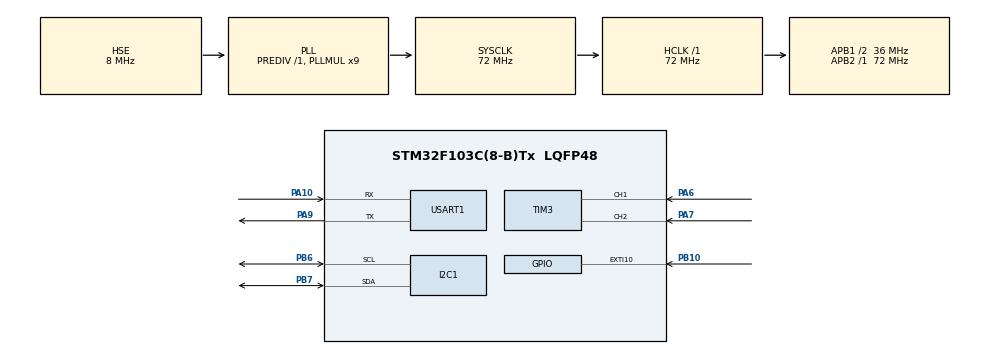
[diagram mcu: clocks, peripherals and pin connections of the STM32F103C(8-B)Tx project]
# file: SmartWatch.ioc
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Dma.Request0=USART1_RX
Dma.USART1_RX.0.Direction=DMA_PERIPH_TO_MEMORY
Dma.USART1_RX.0.Instance=DMA1_Channel5
Dma.USART1_RX.0.MemDataAlignment=DMA_MDATAALIGN_BYTE
Dma.USART1_RX.0.MemInc=DMA_MINC_ENABLE
Dma.USART1_RX.0.Mode=DMA_CIRCULAR
Dma.USART1_RX.0.PeriphDataAlignment=DMA_PDATAALIGN_BYTE
Dma.USART1_RX.0.PeriphInc=DMA_PINC_DISABLE
Dma.USART1_RX.0.Priority=DMA_PRIORITY_LOW
FREERTOS.BinarySemaphores01=semDisplayUpdate,Dynamic,NULL,Available
FREERTOS.Mutexes01=mutexI2C,Dynamic,NULL,Available;mutexUART,Dynamic,NULL,Available
FREERTOS.Queues01=queueSensorData,4,24,1,Dynamic,NULL,NULL;queueTimeUpdate,2,8,1,Dynamic,NULL,NULL;queueMenuMsg,4,4,1,Dynamic,NULL,NULL;queueBtCmd,4,32,1,Dynamic,NULL,NULL;queueStepData,1,uint32_t,0,Dynamic,NULL,NULL
FREERTOS.Tasks01=defaultTask,0,128,StartDefaultTask,Default,NULL,Dynamic,NULL,NULL;taskTimeKeep,2,256,vTask_TimeKeep,Default,NULL,Dynamic,NULL,NULL;taskSensor,1,512,vTask_Sensor,Default,NULL,Dynamic,NULL,NULL;taskDisplay,0,1024,vTask_Display,Default,NULL,Dynamic,NULL,NULL;taskMenu,0,512,vTask_Menu,Default,NULL,Dynamic,NULL,NULL;taskBluetooth,0,512,vTask_Bluetooth,Default,NULL,Dynamic,NULL,NULL
FREERTOS.configMAX_PRIORITIES=32
FREERTOS.configTOTAL_HEAP_SIZE=15360
I2C1.I2C_Mode=I2C_Fast
Mcu.Family=STM32F1
Mcu.Name=STM32F103C(8-B)Tx
Mcu.Package=LQFP48
NVIC.DMA1_Channel5_IRQn=true\:5\:0\:false\:false\:true\:true\:false\:true\:true
NVIC.EXTI15_10_IRQn=true\:7\:0\:true\:false\:true\:false\:true\:true\:true
NVIC.I2C1_ER_IRQn=true\:6\:0\:true\:false\:true\:true\:true\:true\:true
NVIC.I2C1_EV_IRQn=true\:6\:0\:true\:false\:true\:true\:true\:true\:true
NVIC.PriorityGroup=NVIC_PRIORITYGROUP_4
NVIC.TIM1_UP_IRQn=true\:15\:0\:false\:false\:true\:false\:false\:true\:true
NVIC.TIM2_IRQn=true\:5\:0\:false\:false\:true\:true\:true\:true\:true
NVIC.TimeBase=TIM1_UP_IRQn
NVIC.TimeBaseIP=TIM1
NVIC.USART1_IRQn=true\:7\:0\:true\:false\:true\:true\:true\:true\:true
PA10.Mode=Asynchronous
PA10.Signal=USART1_RX
PA13.Mode=Serial_Wire
PA13.Signal=SYS_JTMS-SWDIO
PA14.Mode=Serial_Wire
PA14.Signal=SYS_JTCK-SWCLK
PA6.Signal=S_TIM3_CH1
PA7.Signal=S_TIM3_CH2
PA9.Mode=Asynchronous
PA9.Signal=USART1_TX
PB10.Signal=GPXTI10
PB6.Mode=I2C
PB6.Signal=I2C1_SCL
PB7.Mode=I2C
PB7.Signal=I2C1_SDA
PD0-OSC_IN.Mode=HSE-External-Oscillator
PD0-OSC_IN.Signal=RCC_OSC_IN
PD1-OSC_OUT.Mode=HSE-External-Oscillator
PD1-OSC_OUT.Signal=RCC_OSC_OUT
ProjectManager.HeapSize=0x200
ProjectManager.StackSize=0x400
ProjectManager.TargetToolchain=MDK-ARM V5.32
RCC.AHBFreq_Value=72000000
RCC.APB1CLKDivider=RCC_HCLK_DIV2
RCC.APB1Freq_Value=36000000
RCC.APB1TimFreq_Value=72000000
RCC.APB2Freq_Value=72000000
RCC.APB2TimFreq_Value=72000000
RCC.HCLKFreq_Value=72000000
RCC.PLLMUL=RCC_PLL_MUL9
RCC.PLLSourceVirtual=RCC_PLLSOURCE_HSE
RCC.SYSCLKFreq_VALUE=72000000
RCC.SYSCLKSource=RCC_SYSCLKSOURCE_PLLCLK
RCC.USBFreq_Value=72000000
SH.S_TIM3_CH1.0=TIM3_CH1,Encoder_Interface
SH.S_TIM3_CH2.0=TIM3_CH2,Encoder_Interface
TIM2.Period=9999
TIM2.Prescaler=7199
USART1.VirtualMode=VM_ASYNC
VP_FREERTOS_VS_CMSIS_V1.Mode=CMSIS_V1
VP_SYS_VS_tim1.Mode=TIM1
VP_TIM2_VS_ClockSourceINT.Mode=Internal
board=custom

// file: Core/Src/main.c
/* USER CODE BEGIN Header */
/**
  ******************************************************************************
  * @file           : main.c
  * @brief          : Main program body
  ******************************************************************************
  * @attention
  *
  * Copyright (c) 2026 STMicroelectronics.
  * All rights reserved.
  *
  * This software is licensed under terms that can be found in the LICENSE file
  * in the root directory of this software component.
  * If no LICENSE file comes with this software, it is provided AS-IS.
  *
  ******************************************************************************
  */
/* USER CODE END Header */
#include "main.h"
#include "cmsis_os.h"
#include "dma.h"
#include "i2c.h"
#include "tim.h"
#include "usart.h"
#include "gpio.h"

/* USER CODE BEGIN Includes */
#include <stdio.h>
#include "mpu6050.h"
#include "ssd1306.h"
#include "bluetooth.h"
#include "display.h"
#include "freertos_tasks.h"
/* USER CODE END Includes */

void SystemClock_Config(void);
void MX_FREERTOS_Init(void);

int main(void)
{

  /* MCU Configuration--------------------------------------------------------*/

  /* Reset of all peripherals, Initializes the Flash interface and the Systick. */
  HAL_Init();

  /* Configure the system clock */
  SystemClock_Config();

  /* Initialize all configured peripherals */
  MX_GPIO_Init();
  MX_DMA_Init();
  MX_I2C1_Init();
  MX_USART1_UART_Init();
  MX_TIM2_Init();
  /* USER CODE BEGIN 2 */
	ssd1306_Init();
	ssd1306_Clear();

	//初始化MPU6050
	if (MPU6050_Init() != HAL_OK) {
		ssd1306_SetCursor(0, 0);
		ssd1306_WriteString("MPU6050 Error!");
		while(1);
	}
	MPU6050_CalibrateGyro();
	ssd1306_SetCursor(0, 0);
	Bluetooth_Init();
	MX_TIM3_Init();
	HAL_Delay(10);

  /* USER CODE END 2 */

  /* Call init function for freertos objects (in cmsis_os2.c) */
  MX_FREERTOS_Init();

  /* Start scheduler */
  osKernelStart();
	ssd1306_WriteString("NO RTOS TEST");

  /* We should never get here as control is now taken by the scheduler */

  /* Infinite loop */
  while (1)
  {

    /* USER CODE BEGIN 3 */
    ssd1306_Clear();
    ssd1306_WriteString("Scheduler Fail!");
  }
  /* USER CODE END 3 */
}

void SystemClock_Config(void)
{
  RCC_OscInitTypeDef RCC_OscInitStruct = {0};
  RCC_ClkInitTypeDef RCC_ClkInitStruct = {0};

  /** Initializes the RCC Oscillators according to the specified parameters
  * in the RCC_OscInitTypeDef structure.
  */
  RCC_OscInitStruct.OscillatorType = RCC_OSCILLATORTYPE_HSE;
  RCC_OscInitStruct.HSEState = RCC_HSE_ON;
  RCC_OscInitStruct.HSEPredivValue = RCC_HSE_PREDIV_DIV1;
  RCC_OscInitStruct.HSIState = RCC_HSI_ON;
  RCC_OscInitStruct.PLL.PLLState = RCC_PLL_ON;
  RCC_OscInitStruct.PLL.PLLSource = RCC_PLLSOURCE_HSE;
  RCC_OscInitStruct.PLL.PLLMUL = RCC_PLL_MUL9;
  if (HAL_RCC_OscConfig(&RCC_OscInitStruct) != HAL_OK)
  {
    Error_Handler();
  }

  /** Initializes the CPU, AHB and APB buses clocks
  */
  RCC_ClkInitStruct.ClockType = RCC_CLOCKTYPE_HCLK|RCC_CLOCKTYPE_SYSCLK
                              |RCC_CLOCKTYPE_PCLK1|RCC_CLOCKTYPE_PCLK2;
  RCC_ClkInitStruct.SYSCLKSource = RCC_SYSCLKSOURCE_PLLCLK;
  RCC_ClkInitStruct.AHBCLKDivider = RCC_SYSCLK_DIV1;
  RCC_ClkInitStruct.APB1CLKDivider = RCC_HCLK_DIV2;
  RCC_ClkInitStruct.APB2CLKDivider = RCC_HCLK_DIV1;

  if (HAL_RCC_ClockConfig(&RCC_ClkInitStruct, FLASH_LATENCY_2) != HAL_OK)
  {
    Error_Handler();
  }
}

void HAL_TIM_PeriodElapsedCallback(TIM_HandleTypeDef *htim)
{
  if (htim->Instance == TIM1)
  {
    HAL_IncTick();
  }
}

void Error_Handler(void)
{
  __disable_irq();
  while (1)
  {
  }
}

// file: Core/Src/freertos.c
/* USER CODE BEGIN Header */
/**
  ******************************************************************************
  * File Name          : freertos.c
  * Description        : Code for freertos applications
  ******************************************************************************
  * @attention
  *
  * Copyright (c) 2026 STMicroelectronics.
  * All rights reserved.
  *
  * This software is licensed under terms that can be found in the LICENSE file
  * in the root directory of this software component.
  * If no LICENSE file comes with this software, it is provided AS-IS.
  ******************************************************************************
  */
/* USER CODE END Header */
#include "FreeRTOS.h"
#include "queue.h"
#include "task.h"
#include "main.h"
#include "cmsis_os.h"
/* USER CODE BEGIN Includes */
#include "freertos_tasks.h"
#include <stdio.h>
#include "display.h"
#include <string.h>
#include <stdlib.h>
#include "tim.h"
#include "gpio.h"
/* USER CODE END Includes */
/* USER CODE BEGIN PTD */
typedef struct QueueSensorBuf{
    MPU6050_Data data;
}QueueSensorBuf_t;
typedef struct QueueTimeBuf{
    TimeData data;
}QueueTimeBuf_t;
/* USER CODE END PTD */
/* USER CODE BEGIN PD */
// 等效 xQueueOverwriteSafe，兼容多版本
#define xQueueOverwriteSafe(queue, data) \
    do { \
        xQueueReset((queue)); \
        xQueueSend((queue), (data), 0); \
    } while(0)
/* USER CODE END PD */
/* USER CODE BEGIN Variables */
// 全局缓存，避免局部变量入队野指针
static TimeData g_timeBuf = {0};
static MPU6050_Data g_sensorBuf = {0};
static uint32_t g_stepTotal = 0;
static MenuPage g_curPage = PAGE_MAIN_MENU; // 开机默认进主菜单
static uint8_t g_menu_cursor = 0;          // 列表页当前光标位置
static uint8_t g_alarmHour = 0;
static uint8_t g_alarmMin = 0;
static uint8_t g_alarm_enabled = 1;    // 闹钟总开关，默认开启
static uint8_t g_alarm_ringing = 0;    // 闹钟是否正在响铃
static uint8_t g_alarm_beep_tick = 0;  // 间歇鸣叫计数器

static uint8_t g_brightness = 207;  // 屏幕亮度，默认0xCF对应207
static uint8_t g_edit_mode = 0;     // 设置页编辑模式：0=选择项，1=编辑数值
static uint8_t g_edit_index = 0;    // 当前编辑的选项索引
static uint16_t last_enc_cnt = 32768;
static int16_t  dir_accum = 0;          // 方向累加器
#define ENC_TRIGGER  4                 // 累计4个计数触发1格（四倍频对应1个定位）
// 距离、卡路里计算常量
#define STEP_PER_METER  0.7f        // 步长0.7米
#define CAL_PER_STEP    0.04f       // 每步约0.04千卡
#define FW_VERSION      "V1.0.0"    // 固件版本
/* USER CODE END Variables */
osThreadId defaultTaskHandle;
osThreadId taskTimeKeepHandle;
osThreadId taskSensorHandle;
osThreadId taskDisplayHandle;
osThreadId taskMenuHandle;
osThreadId taskBluetoothHandle;
osThreadId taskHwInitHandle;
osMessageQId queueSensorDataHandle;
osMessageQId queueTimeUpdateHandle;
osMessageQId queueMenuMsgHandle;
osMessageQId queueBtCmdHandle;
osMessageQId queueStepDataHandle;
osMutexId mutexI2CHandle;
osMutexId mutexUARTHandle;
osSemaphoreId semDisplayUpdateHandle;
/* USER CODE BEGIN FunctionPrototypes */
extern void StepDetection(MPU6050_Data *dat, uint32_t *step);
/* USER CODE END FunctionPrototypes */
void StartDefaultTask(void const * argument);
void vTask_TimeKeep(void const * argument);
void vTask_Sensor(void const * argument);
void vTask_Display(void const * argument);
void vTask_Menu(void const * argument);
void vTask_Bluetooth(void const * argument);
void vTaskHardwareInit(void const * arg);
void MX_FREERTOS_Init(void); /* (MISRA C 2004 rule 8.1) */
int16_t EncoderSimByButtons(void);
/* GetIdleTaskMemory prototype (linked to static allocation support) */
void vApplicationGetIdleTaskMemory( StaticTask_t **ppxIdleTaskTCBBuffer, StackType_t **ppxIdleTaskStackBuffer, uint32_t *pulIdleTaskStackSize );
/* USER CODE BEGIN GET_IDLE_TASK_MEMORY */
static StaticTask_t xIdleTaskTCBBuffer;
static StackType_t xIdleStack[configMINIMAL_STACK_SIZE];
void vApplicationGetIdleTaskMemory( StaticTask_t **ppxIdleTaskTCBBuffer, StackType_t **ppxIdleTaskStackBuffer, uint32_t *pulIdleTaskStackSize )
{
  *ppxIdleTaskTCBBuffer = &xIdleTaskTCBBuffer;
  *ppxIdleTaskStackBuffer = &xIdleStack[0];
  *pulIdleTaskStackSize = configMINIMAL_STACK_SIZE;
}

/* USER CODE END GET_IDLE_TASK_MEMORY */

void MX_FREERTOS_Init(void)
{
		osMutexDef(mutexI2C);
		mutexI2CHandle = osMutexCreate(osMutex(mutexI2C));
		if (mutexI2CHandle == NULL)
		{
				ssd1306_Clear();
				ssd1306_SetCursor(0, 0);
				ssd1306_WriteString("Mutex I2C Fail");
				while(1);
		}

		// 创建 UART 互斥锁
		osMutexDef(mutexUART);
		mutexUARTHandle = osMutexCreate(osMutex(mutexUART));
		if (mutexUARTHandle == NULL)
		{
				ssd1306_Clear();
				ssd1306_SetCursor(0, 0);
				ssd1306_WriteString("Mutex UART Fail");
				while(1);
		}

		osSemaphoreDef(semDisplayUpdate);
		semDisplayUpdateHandle = osSemaphoreCreate(osSemaphore(semDisplayUpdate), 1);
		if (semDisplayUpdateHandle == NULL)
		{
				ssd1306_Clear();
				ssd1306_SetCursor(0, 0);
				ssd1306_WriteString("sem display Fail");
				while(1);
		}

		osThreadDef(taskDisplay, vTask_Display, osPriorityNormal, 0, 256);
		taskDisplayHandle = osThreadCreate(osThread(taskDisplay), NULL);
		if (taskDisplayHandle == NULL)
		{
				ssd1306_Clear();
				ssd1306_SetCursor(0, 0);
				ssd1306_WriteString("task diplay Fail");
				while(1);
		}

		// 创建时间更新队列
		queueTimeUpdateHandle = xQueueCreate(2, sizeof(QueueTimeBuf_t));
		if (queueTimeUpdateHandle == NULL)
		{
				ssd1306_Clear();
				ssd1306_SetCursor(0, 0);
				ssd1306_WriteString("queue Timeupdate Fail");
				while(1);
		}

		// 创建传感器数据队列
		queueSensorDataHandle = xQueueCreate(4, sizeof(QueueSensorBuf_t));
		if (queueSensorDataHandle == NULL)
		{
				ssd1306_Clear();
				ssd1306_SetCursor(0, 0);
				ssd1306_WriteString("queue sensor data Fail");
				while(1);
		}

		// 创建计步数据队列
		queueStepDataHandle = xQueueCreate(1, sizeof(uint32_t));
		if (queueStepDataHandle == NULL)
		{
				ssd1306_Clear();
				ssd1306_SetCursor(0, 0);
				ssd1306_WriteString("Mqueue step data Fail");
				while(1);
		}

		// 创建菜单消息队列
		queueMenuMsgHandle = xQueueCreate(4, sizeof(MenuMsg));
		if (queueMenuMsgHandle == NULL)
		{
				ssd1306_Clear();
				ssd1306_SetCursor(0, 0);
				ssd1306_WriteString("queue menu msg Fail");
				while(1);
		}

		//蓝牙队列
		queueBtCmdHandle = xQueueCreate(4, 32);
		if (queueBtCmdHandle == NULL)
		{
				ssd1306_Clear();
				ssd1306_SetCursor(0, 0);
				ssd1306_WriteString("queue bt cmd Fail");
				while(1);
		}

		// 硬件初始化任务
		osThreadDef(taskHwInit, vTaskHardwareInit, osPriorityHigh+1, 0, 256);
		taskHwInitHandle = osThreadCreate(osThread(taskHwInit), NULL);
		if (taskHwInitHandle == NULL)
		{
				ssd1306_Clear();
				ssd1306_SetCursor(0, 0);
				ssd1306_WriteString("task hw init Fail");
				while(1);
		}

		// 时间任务
		osThreadDef(taskTimeKeep, vTask_TimeKeep, osPriorityHigh, 0, 128);
		taskTimeKeepHandle = osThreadCreate(osThread(taskTimeKeep), NULL);
		if (taskTimeKeepHandle == NULL)
		{
				ssd1306_Clear();
				ssd1306_SetCursor(0, 0);
				ssd1306_WriteString("task time keep Fail");
				while(1);
		}

		// 菜单任务
		osThreadDef(taskMenu, vTask_Menu, osPriorityNormal, 0, 128);
		taskMenuHandle = osThreadCreate(osThread(taskMenu), NULL);
		if (taskMenuHandle == NULL)
		{
				ssd1306_Clear();
				ssd1306_SetCursor(0, 0);
				ssd1306_WriteString("task menu Fail");
				while(1);
		}

		// 传感器任务
		osThreadDef(taskSensor, vTask_Sensor, osPriorityNormal, 0, 192);
		taskSensorHandle = osThreadCreate(osThread(taskSensor), NULL);
		if (taskSensorHandle == NULL)
		{
				ssd1306_Clear();
				ssd1306_SetCursor(0, 0);
				ssd1306_WriteString("task sensor Fail");
				while(1);
		}

		// 蓝牙任务
		osThreadDef(taskBluetooth, vTask_Bluetooth, osPriorityLow, 0, 192);
		taskBluetoothHandle = osThreadCreate(osThread(taskBluetooth), NULL);
		if (taskBluetoothHandle == NULL)
		{
				ssd1306_Clear();
				ssd1306_SetCursor(0, 0);
				ssd1306_WriteString("task blue tooth Fail");
				while(1);
		}
}

/* USER CODE BEGIN Header_StartDefaultTask */
void StartDefaultTask(void const * argument)
{
  for(;;)
  {
    osDelay(1000);
  }
}
/* USER CODE END Header_StartDefaultTask */

void vTask_TimeKeep(void const * argument)
{
    TickType_t xLastWakeTime = xTaskGetTickCount();
    QueueTimeBuf_t timePack;
    static TimeData lastTime = {0};
    for (;;) {
        IncrementTime(&g_timeBuf);

        /* ========== 新增：闹钟检测逻辑 ========== */
        if(g_alarm_enabled && !g_alarm_ringing)
        {
            // 时分匹配且秒为0，整点触发闹钟，避免重复触发
            if(g_timeBuf.hour == g_alarmHour
            && g_timeBuf.min == g_alarmMin
            && g_timeBuf.sec == 0)
            {
                g_alarm_ringing = 1;
                g_alarm_beep_tick = 0;
                osSemaphoreRelease(semDisplayUpdateHandle); // 触发屏幕刷新提示
            }
        }

        // 闹钟响铃中：间歇鸣叫（响1秒停1秒）
        if(g_alarm_ringing)
        {
            g_alarm_beep_tick++;
            if(g_alarm_beep_tick % 2 == 1)
                Beep_Set(1);  // 奇数秒响
            else
                Beep_Set(0);  // 偶数秒停

            // 响铃超时：60秒后自动关闭
            if(g_alarm_beep_tick >= 60)
            {
                g_alarm_ringing = 0;
                Beep_Set(0);
            }
        }
        /* ======================================== */

        // 只有时间变化，才入队+触发刷新
        if(memcmp(&g_timeBuf, &lastTime, sizeof(TimeData)) != 0)
        {
            timePack.data = g_timeBuf;
            xQueueOverwriteSafe(queueTimeUpdateHandle, &timePack);
            osSemaphoreRelease(semDisplayUpdateHandle);
            lastTime = g_timeBuf;
        }
        vTaskDelayUntil(&xLastWakeTime, pdMS_TO_TICKS(1000));
    }
}

/* 传感器任务：修复局部指针入队，新增计步调用 */
void vTask_Sensor(void const * argument)
{
    TickType_t xLastWakeTime = xTaskGetTickCount();
    QueueSensorBuf_t sensorPack;
    static MPU6050_Data lastSensor = {0};
    static uint32_t lastStep = 0;
    for (;;)
		{
        if (osMutexWait(mutexI2CHandle, pdMS_TO_TICKS(100)) == osOK)
				{
            MPU6050_ReadAll(&g_sensorBuf);
            osMutexRelease(mutexI2CHandle);
        }

        StepDetection(&g_sensorBuf, &g_stepTotal);

        int dataChanged = 0;
        if(memcmp(&g_sensorBuf, &lastSensor, sizeof(MPU6050_Data)) != 0)
        {
            lastSensor = g_sensorBuf;
            dataChanged = 1;
        }
        if(g_stepTotal != lastStep)
        {
            lastStep = g_stepTotal;
            dataChanged = 1;
        }

        if(dataChanged)
        {
            sensorPack.data = g_sensorBuf;
            xQueueOverwriteSafe(queueSensorDataHandle, &sensorPack);
            xQueueOverwriteSafe(queueStepDataHandle, &g_stepTotal);
            osSemaphoreRelease(semDisplayUpdateHandle);
        }
        vTaskDelayUntil(&xLastWakeTime, pdMS_TO_TICKS(200));
    }
}

void vTask_Display(void const * argument)
{
    QueueTimeBuf_t timePack = {0};
    QueueSensorBuf_t sensorPack = {0};
    uint32_t steps = 0;

    // 启动时先读一次初始数据
    xQueueReceive((QueueHandle_t)queueTimeUpdateHandle, &timePack, 0);
    xQueueReceive((QueueHandle_t)queueSensorDataHandle, &sensorPack, 0);
    xQueueReceive((QueueHandle_t)queueStepDataHandle, &steps, 0);

    for (;;)
		{
        // 永久等待刷新信号，内容不变不重绘，减少闪烁
        osSemaphoreWait(semDisplayUpdateHandle, osWaitForever);

        // 读取最新数据
        xQueueReceive((QueueHandle_t)queueTimeUpdateHandle, &timePack, 0);
        xQueueReceive((QueueHandle_t)queueSensorDataHandle, &sensorPack, 0);
        xQueueReceive((QueueHandle_t)queueStepDataHandle, &steps, 0);

        // 获取I2C互斥锁
        uint8_t lockTry = 0;
        while(osMutexWait(mutexI2CHandle, pdMS_TO_TICKS(20)) != osOK && lockTry < 3)
        {
            lockTry++;
            vTaskDelay(pdMS_TO_TICKS(5));
        }
        if(lockTry >= 3)
            continue;

        ssd1306_Clear();

				switch(g_curPage)
				{
						// 主菜单（原有保留，略作优化）
						case PAGE_MAIN_MENU:
						{
								ssd1306_SetCursor(0, 0);
								ssd1306_WriteString("=== main menu ===");
								ssd1306_SetCursor(0, 2);
								ssd1306_WriteString(g_menu_cursor==0 ? ">1.time display" : " 1.time display");
								ssd1306_SetCursor(0, 3);
								ssd1306_WriteString(g_menu_cursor==1 ? ">2.sensor data" : " 2.sensor data");
								ssd1306_SetCursor(0, 4);
								ssd1306_WriteString(g_menu_cursor==2 ? ">3.sport data" : " 3.sport data");
								ssd1306_SetCursor(0, 5);
								ssd1306_WriteString(g_menu_cursor==3 ? ">4.settings" : " 4.settings");
								ssd1306_SetCursor(0, 6);
								ssd1306_WriteString(g_menu_cursor==4 ? ">5.system info" : " 5.system info");
								break;
						}

						// 时间显示子菜单
						case PAGE_TIME_MENU:
						{
								ssd1306_SetCursor(0, 0);
								ssd1306_WriteString("=== time menu ===");
								ssd1306_SetCursor(0, 2);
								ssd1306_WriteString(g_menu_cursor==0 ? ">current time" : " current time");
								ssd1306_SetCursor(0, 3);
								ssd1306_WriteString(g_menu_cursor==1 ? ">date" : " date");
								ssd1306_SetCursor(0, 4);
								ssd1306_WriteString(g_menu_cursor==2 ? ">step num" : " step num");
								break;
						}

						// 当前时间详情
						case PAGE_TIME_NOW:
						{
								char buf[32];
								sprintf(buf,"%02d:%02d:%02d", timePack.data.hour, timePack.data.min, timePack.data.sec);
								ssd1306_SetCursor(20, 3);
								ssd1306_WriteString(buf);
								ssd1306_SetCursor(0, 7);
								ssd1306_WriteString("long press back");
								break;
						}

						// 日期页面
						case PAGE_DATE:
						{
								char buf[32];
								sprintf(buf, "%04d-%02d-%02d", timePack.data.year, timePack.data.month, timePack.data.day);
								ssd1306_SetCursor(16, 3);
								ssd1306_WriteString(buf);
								ssd1306_SetCursor(0, 7);
								ssd1306_WriteString("long press back");
								break;
						}

						// 步数统计页面
						case PAGE_STEP_VIEW:
						{
								char buf[32];
								ssd1306_SetCursor(0, 1);
								ssd1306_WriteString("total steps:");
								sprintf(buf, "%u", steps);
								ssd1306_SetCursor(0, 2);
								ssd1306_WriteString(buf);
								float dist = steps * STEP_PER_METER / 1000.0f;
								sprintf(buf, "dist: %.2f km", dist);
								ssd1306_SetCursor(0, 4);
								ssd1306_WriteString(buf);
								ssd1306_SetCursor(0, 7);
								ssd1306_WriteString("long press back");
								break;
						}

						// 传感器子菜单
						case PAGE_SENSOR_MENU:
						{
								ssd1306_SetCursor(0, 0);
								ssd1306_WriteString("= sensor menu =");
								ssd1306_SetCursor(0, 2);
								ssd1306_WriteString(g_menu_cursor==0 ? ">attitude" : " attitude");
								ssd1306_SetCursor(0, 3);
								ssd1306_WriteString(g_menu_cursor==1 ? ">accel" : " accel");
								ssd1306_SetCursor(0, 4);
								ssd1306_WriteString(g_menu_cursor==2 ? ">temp" : " temp");
								break;
						}

						// 姿态角度页面
						case PAGE_ATTITUDE:
						{
								char buf[32];
								ssd1306_SetCursor(0, 1);
								sprintf(buf, "Pitch: %.1f", sensorPack.data.pitch);
								ssd1306_WriteString(buf);
								ssd1306_SetCursor(0, 3);
								sprintf(buf, "Roll : %.1f", sensorPack.data.roll);
								ssd1306_WriteString(buf);
								ssd1306_SetCursor(0, 5);
								sprintf(buf, "Yaw  : %.1f", sensorPack.data.yaw);
								ssd1306_WriteString(buf);
								ssd1306_SetCursor(0, 7);
								ssd1306_WriteString("long press back");
								break;
						}

						// 加速度页面
						case PAGE_ACCEL:
						{
								char buf[32];
								ssd1306_SetCursor(0, 1);
								sprintf(buf, "AX: %.2f g", sensorPack.data.accel_x);
								ssd1306_WriteString(buf);
								ssd1306_SetCursor(0, 3);
								sprintf(buf, "AY: %.2f g", sensorPack.data.accel_y);
								ssd1306_WriteString(buf);
								ssd1306_SetCursor(0, 5);
								sprintf(buf, "AZ: %.2f g", sensorPack.data.accel_z);
								ssd1306_WriteString(buf);
								ssd1306_SetCursor(0, 7);
								ssd1306_WriteString("long press back");
								break;
						}

						// 温度页面
						case PAGE_TEMP:
						{
								char buf[32];
								ssd1306_SetCursor(20, 3);
								sprintf(buf, "Temp: %.1f C", sensorPack.data.temp);
								ssd1306_WriteString(buf);
								ssd1306_SetCursor(0, 7);
								ssd1306_WriteString("long press back");
								break;
						}

						// 运动数据子菜单
						case PAGE_SPORT_MENU:
						{
								ssd1306_SetCursor(0, 0);
								ssd1306_WriteString("== sport menu ==");
								ssd1306_SetCursor(0, 2);
								ssd1306_WriteString(g_menu_cursor==0 ? ">today steps" : " today steps");
								ssd1306_SetCursor(0, 3);
								ssd1306_WriteString(g_menu_cursor==1 ? ">distance" : " distance");
								ssd1306_SetCursor(0, 4);
								ssd1306_WriteString(g_menu_cursor==2 ? ">calorie" : " calorie");
								break;
						}

						// 今日步数
						case PAGE_STEP_TODAY:
						{
								char buf[32];
								ssd1306_SetCursor(0, 2);
								ssd1306_WriteString("today steps:");
								sprintf(buf, "%u steps", steps);
								ssd1306_SetCursor(0, 4);
								ssd1306_WriteString(buf);
								ssd1306_SetCursor(0, 7);
								ssd1306_WriteString("long press back");
								break;
						}

						// 运动距离
						case PAGE_DISTANCE:
						{
								char buf[32];
								float dist = steps * STEP_PER_METER / 1000.0f;
								ssd1306_SetCursor(0, 2);
								ssd1306_WriteString("sport distance:");
								sprintf(buf, "%.2f km", dist);
								ssd1306_SetCursor(0, 4);
								ssd1306_WriteString(buf);
								ssd1306_SetCursor(0, 7);
								ssd1306_WriteString("long press back");
								break;
						}

						// 卡路里估算
						case PAGE_CALORIE:
						{
								char buf[32];
								float cal = steps * CAL_PER_STEP;
								ssd1306_SetCursor(0, 2);
								ssd1306_WriteString("burn calorie:");
								sprintf(buf, "%.1f kcal", cal);
								ssd1306_SetCursor(0, 4);
								ssd1306_WriteString(buf);
								ssd1306_SetCursor(0, 7);
								ssd1306_WriteString("long press back");
								break;
						}

						// 设置子菜单
						case PAGE_SETTING_MENU:
						{
								ssd1306_SetCursor(0, 0);
								ssd1306_WriteString("=== settings ===");
								ssd1306_SetCursor(0, 2);
								ssd1306_WriteString(g_menu_cursor==0 ? ">time set" : " time set");
								ssd1306_SetCursor(0, 3);
								ssd1306_WriteString(g_menu_cursor==1 ? ">bt pair" : " bt pair");
								ssd1306_SetCursor(0, 4);
								ssd1306_WriteString(g_menu_cursor==2 ? ">brightness" : " brightness");
								ssd1306_SetCursor(0, 5);
								ssd1306_WriteString(g_menu_cursor==3 ? ">alarm set" : " alarm set");
								ssd1306_SetCursor(0, 6);
								ssd1306_WriteString(g_menu_cursor==4 ? ">factory reset" : " factory reset");
								break;
						}

						// 时间设置页面
						case PAGE_TIME_SET:
						{
								char buf[32];
								ssd1306_SetCursor(0, 0);
								ssd1306_WriteString("=== time set ===");
								// 三个选项：时、分、秒
								sprintf(buf, "%s hour : %02d", g_edit_index==0?">":" ", g_timeBuf.hour);
								ssd1306_SetCursor(0, 2);
								ssd1306_WriteString(buf);
								sprintf(buf, "%s min  : %02d", g_edit_index==1?">":" ", g_timeBuf.min);
								ssd1306_SetCursor(0, 3);
								ssd1306_WriteString(buf);
								sprintf(buf, "%s sec  : %02d", g_edit_index==2?">":" ", g_timeBuf.sec);
								ssd1306_SetCursor(0, 4);
								ssd1306_WriteString(buf);

								if(g_edit_mode) {
										ssd1306_SetCursor(0, 6);
										ssd1306_WriteString("editing...");
								}
								ssd1306_SetCursor(0, 7);
								ssd1306_WriteString("long press back");
								break;
						}

						// 蓝牙配对页面
						case PAGE_BT_PAIR:
						{
								ssd1306_SetCursor(0, 2);
								ssd1306_WriteString("bt pairing...");
								ssd1306_SetCursor(0, 4);
								ssd1306_WriteString("name: HC-05");
								ssd1306_SetCursor(0, 5);
								ssd1306_WriteString("pin : 1234");
								ssd1306_SetCursor(0, 7);
								ssd1306_WriteString("long press back");
								break;
						}

						// 屏幕亮度调节
						case PAGE_BRIGHTNESS:
						{
								char buf[32];
								ssd1306_SetCursor(0, 2);
								ssd1306_WriteString("brightness:");
								sprintf(buf, "%d %%", (g_brightness * 100) / 255);
								ssd1306_SetCursor(0, 4);
								ssd1306_WriteString(buf);
								ssd1306_SetCursor(0, 7);
								ssd1306_WriteString("rotate adjust");
								break;
						}

						// 闹钟设置页面
						case PAGE_ALARM_SET:
						{
								char buf[32];
								ssd1306_SetCursor(0, 0);
								ssd1306_WriteString("=== alarm set ===");

								sprintf(buf, "%s hour : %02d", g_edit_index==0?">":" ", g_alarmHour);
								ssd1306_SetCursor(0, 2);
								ssd1306_WriteString(buf);

								sprintf(buf, "%s min  : %02d", g_edit_index==1?">":" ", g_alarmMin);
								ssd1306_SetCursor(0, 3);
								ssd1306_WriteString(buf);

								sprintf(buf, "%s status: %s", g_edit_index==2?">":" ", g_alarm_enabled?"ON ":"OFF");
								ssd1306_SetCursor(0, 5);
								ssd1306_WriteString(buf);

								if(g_edit_mode) {
										ssd1306_SetCursor(0, 6);
										ssd1306_WriteString("editing...");
								}
								ssd1306_SetCursor(0, 7);
								ssd1306_WriteString("long press back");
								break;
						}

						// 恢复出厂
						case PAGE_FACTORY_RESET:
						{
								ssd1306_SetCursor(0, 2);
								ssd1306_WriteString("factory reset?");
								ssd1306_SetCursor(0, 4);
								ssd1306_WriteString("short press confirm");
								ssd1306_SetCursor(0, 7);
								ssd1306_WriteString("long press cancel");
								break;
						}

						// 系统信息子菜单
						case PAGE_SYSINFO_MENU:
						{
								ssd1306_SetCursor(0, 0);
								ssd1306_WriteString("= system info =");
								ssd1306_SetCursor(0, 2);
								ssd1306_WriteString(g_menu_cursor==0 ? ">battery" : " battery");
								ssd1306_SetCursor(0, 3);
								ssd1306_WriteString(g_menu_cursor==1 ? ">fw version" : " fw version");
								ssd1306_SetCursor(0, 4);
								ssd1306_WriteString(g_menu_cursor==2 ? ">bt mac" : " bt mac");
								break;
						}

						// 电池电压
						case PAGE_BATTERY:
						{
								ssd1306_SetCursor(0, 3);
								ssd1306_WriteString("battery: 3.7 V");
								ssd1306_SetCursor(0, 5);
								//ssd1306_WriteString("(adc not init)");
								//ssd1306_SetCursor(0, 7);
								ssd1306_WriteString("long press back");
								break;
						}

						// 固件版本
						case PAGE_FW_VERSION:
						{
								ssd1306_SetCursor(0, 3);
								ssd1306_WriteString("firmware ver:");
								ssd1306_SetCursor(0, 4);
								ssd1306_WriteString(FW_VERSION);
								ssd1306_SetCursor(0, 7);
								ssd1306_WriteString("long press back");
								break;
						}

						// 蓝牙MAC
						case PAGE_BT_MAC:
						{
								ssd1306_SetCursor(0, 3);
								ssd1306_WriteString("bt mac:");
								ssd1306_SetCursor(0, 4);
							  ssd1306_WriteString("00:26:01:02:ED:DC");
								ssd1306_SetCursor(0, 7);
								ssd1306_WriteString("long press back");
								break;
						}

						default:
						{
								ssd1306_SetCursor(20, 3);
								ssd1306_WriteString("wait...");
								ssd1306_SetCursor(0, 7);
								ssd1306_WriteString("long press back");
								break;
						}
				}
				ssd1306_UpdateScreen();
				osMutexRelease(mutexI2CHandle);
    }
}
/* 菜单任务：消费菜单队列、切换页面 */
void vTask_Menu(void const * argument)
{
    TickType_t xLastWakeTime = xTaskGetTickCount();

    // 每个页面对应的上级页面
    const MenuPage menu_parent[PAGE_MAX] = {
        [PAGE_MAIN_MENU]    = PAGE_MAIN_MENU,
        [PAGE_TIME_MENU]    = PAGE_MAIN_MENU,
        [PAGE_TIME_NOW]     = PAGE_TIME_MENU,
        [PAGE_DATE]         = PAGE_TIME_MENU,
        [PAGE_STEP_VIEW]    = PAGE_TIME_MENU,

        [PAGE_SENSOR_MENU]  = PAGE_MAIN_MENU,
        [PAGE_ATTITUDE]     = PAGE_SENSOR_MENU,
        [PAGE_ACCEL]        = PAGE_SENSOR_MENU,
        [PAGE_TEMP]         = PAGE_SENSOR_MENU,

        [PAGE_SPORT_MENU]   = PAGE_MAIN_MENU,
        [PAGE_STEP_TODAY]   = PAGE_SPORT_MENU,
        [PAGE_DISTANCE]     = PAGE_SPORT_MENU,
        [PAGE_CALORIE]      = PAGE_SPORT_MENU,

        [PAGE_SETTING_MENU] = PAGE_MAIN_MENU,
        [PAGE_TIME_SET]     = PAGE_SETTING_MENU,
        [PAGE_BT_PAIR]      = PAGE_SETTING_MENU,
        [PAGE_BRIGHTNESS]   = PAGE_SETTING_MENU,
				[PAGE_ALARM_SET]    = PAGE_SETTING_MENU,
        [PAGE_FACTORY_RESET]= PAGE_SETTING_MENU,

        [PAGE_SYSINFO_MENU] = PAGE_MAIN_MENU,
        [PAGE_BATTERY]      = PAGE_SYSINFO_MENU,
        [PAGE_FW_VERSION]   = PAGE_SYSINFO_MENU,
        [PAGE_BT_MAC]       = PAGE_SYSINFO_MENU,
    };

    // 每个列表页的菜单项总数
    const uint8_t menu_item_count[PAGE_MAX] = {
        [PAGE_MAIN_MENU]    = 5,
        [PAGE_TIME_MENU]    = 3,
        [PAGE_SENSOR_MENU]  = 3,
        [PAGE_SPORT_MENU]   = 3,
        [PAGE_SETTING_MENU] = 5,
        [PAGE_SYSINFO_MENU] = 3,
        // 内容页/设置页项数为0
        [PAGE_TIME_NOW]     = 0, [PAGE_DATE] = 0, [PAGE_STEP_VIEW] = 0,
        [PAGE_ATTITUDE]     = 0, [PAGE_ACCEL] = 0, [PAGE_TEMP] = 0,
        [PAGE_STEP_TODAY]   = 0, [PAGE_DISTANCE] = 0, [PAGE_CALORIE] = 0,
        [PAGE_TIME_SET]     = 0, [PAGE_BT_PAIR] = 0, [PAGE_BRIGHTNESS] = 0,
				[PAGE_ALARM_SET] = 0,  [PAGE_FACTORY_RESET]= 0, [PAGE_BATTERY] = 0,
				[PAGE_FW_VERSION] = 0, [PAGE_BT_MAC] = 0,
    };

    for (;;) {
        uint8_t refresh = 0;
        // EC11 读取差分增量
        uint16_t raw_cnt = TIM3->CNT;
        int16_t encoder_delta = (int16_t)(raw_cnt - last_enc_cnt);
        last_enc_cnt = raw_cnt;

        uint8_t btn_event = ReadEncoderButton();

        // 旋转时屏蔽按键防误触
        if(abs(encoder_delta) >= 2) {
            btn_event = BTN_NONE;
        }

        // ========== 方向累加防抖逻辑 ==========
        if(encoder_delta > 0) {
            if(dir_accum < 0) dir_accum = 0;  // 反向直接清零，过滤抖动
            dir_accum += encoder_delta;
        } else if(encoder_delta < 0) {
            if(dir_accum > 0) dir_accum = 0;
            dir_accum += encoder_delta;
        }

        // ========== 1. 处理编码器旋转 ==========
        if(g_edit_mode)
        {
            // 编辑模式：调整数值
            if(dir_accum >= ENC_TRIGGER) {
                dir_accum = 0;  // 触发后清零
                switch(g_curPage)
                {
                    case PAGE_TIME_SET:
                        if(g_edit_index == 0) {
                            g_timeBuf.hour = (g_timeBuf.hour + 1 + 24) % 24;
                        } else if(g_edit_index == 1) {
                            g_timeBuf.min = (g_timeBuf.min + 1 + 60) % 60;
                        } else if(g_edit_index == 2) {
                            g_timeBuf.sec = (g_timeBuf.sec + 1 + 60) % 60;
                        }
                        refresh = 1;
                        break;
                    case PAGE_BRIGHTNESS:
                        if(g_brightness < 255 - 10) g_brightness += 10;
                        else g_brightness = 255;
												ssd1306_SetContrast(g_brightness);
                        refresh = 1;
                        break;
										case PAGE_ALARM_SET:
												if(g_edit_index == 0) {
														g_alarmHour = (g_alarmHour + 1 + 24) % 24;
												} else if(g_edit_index == 1) {
														g_alarmMin = (g_alarmMin + 1 + 60) % 60;
												} else if(g_edit_index == 2) {
														g_alarm_enabled = 1; // 加键 → 开启闹钟
												}
												refresh = 1;
												break;
                    default: break;
                }
            } else if(dir_accum <= -ENC_TRIGGER) {
                dir_accum = 0;
                switch(g_curPage)
                {
                    case PAGE_TIME_SET:
                        if(g_edit_index == 0)
												{
                            g_timeBuf.hour = (g_timeBuf.hour - 1 + 24) % 24;
                        }
												else if(g_edit_index == 1)
												{
                            g_timeBuf.min = (g_timeBuf.min - 1 + 60) % 60;
                        }
												else if(g_edit_index == 2)
												{
                            g_timeBuf.sec = (g_timeBuf.sec - 1 + 60) % 60;
                        }
                        refresh = 1;
                        break;
                    case PAGE_BRIGHTNESS:
                        if(g_brightness > 10) g_brightness -= 10;
                        else g_brightness = 0;
                        refresh = 1;
                        break;
										case PAGE_ALARM_SET:
												if(g_edit_index == 0)
												{
														g_alarmHour = (g_alarmHour - 1 + 24) % 24;
												}
												else if(g_edit_index == 1)
												{
														g_alarmMin = (g_alarmMin - 1 + 60) % 60;
												}
												else if(g_edit_index == 2)
												{
														g_alarm_enabled = 0; // 减键 → 关闭闹钟
												}
												refresh = 1;
												break;
                    default: break;
                }
            }
        }
        else
        {
            // 非编辑模式：列表页移动光标
            uint8_t item_cnt = menu_item_count[g_curPage];
            if(item_cnt > 0)
            {
                if(dir_accum >= ENC_TRIGGER)
								{
                    dir_accum = 0;
                    // 顺时针：光标下移
                    if(g_menu_cursor < item_cnt - 1)
										{
                        g_menu_cursor++;
                        refresh = 1;
                    }
                }
								else if(dir_accum <= -ENC_TRIGGER)
								{
												dir_accum = 0;
												// 逆时针：光标上移
												if(g_menu_cursor > 0)
												{
														g_menu_cursor--;
														refresh = 1;
												}
							  }
            }
        }

        // ========== 2. 处理短按 ==========
        if(btn_event == BTN_SHORT)
        {
						if(g_alarm_ringing)
						{
								g_alarm_ringing = 0;
								Beep_Set(0);
								refresh = 1;
						}
            else if(g_edit_mode)
            {
                if(g_curPage == PAGE_TIME_SET) {
                    if(g_edit_index < 2) {
                        g_edit_index++;
                    } else {
                        g_edit_mode = 0;
                        g_edit_index = 0;
                    }
                    refresh = 1;
                }
								/* ========== 新增：闹钟设置页 循环切光标 ========== */
								else if(g_curPage == PAGE_ALARM_SET) {
										// 0=小时 → 1=分钟 → 0=小时，循环往复，不退出编辑
										g_edit_index = (g_edit_index + 1) % 3;
										refresh = 1;
								}
            }
            else
            {
                if(g_curPage == PAGE_FACTORY_RESET) {
                    g_timeBuf.hour = 12;
                    g_timeBuf.min = 0;
                    g_timeBuf.sec = 0;
                    g_stepTotal = 0;
                    g_brightness = 207;
                    g_curPage = PAGE_MAIN_MENU;
                    g_menu_cursor = 0;
                    refresh = 1;
                }
                else {
                    switch(g_curPage)
                    {
                        case PAGE_MAIN_MENU:
                            switch(g_menu_cursor) {
                                case 0: g_curPage = PAGE_TIME_MENU; break;
                                case 1: g_curPage = PAGE_SENSOR_MENU; break;
                                case 2: g_curPage = PAGE_SPORT_MENU; break;
                                case 3: g_curPage = PAGE_SETTING_MENU; break;
                                case 4: g_curPage = PAGE_SYSINFO_MENU; break;
                            }
                            g_menu_cursor = 0;
                            refresh = 1;
                            break;
                        case PAGE_TIME_MENU:
                            switch(g_menu_cursor) {
                                case 0: g_curPage = PAGE_TIME_NOW; break;
                                case 1: g_curPage = PAGE_DATE; break;
                                case 2: g_curPage = PAGE_STEP_VIEW; break;
                            }
                            refresh = 1;
                            break;
                        case PAGE_SENSOR_MENU:
                            switch(g_menu_cursor) {
                                case 0: g_curPage = PAGE_ATTITUDE; break;
                                case 1: g_curPage = PAGE_ACCEL; break;
                                case 2: g_curPage = PAGE_TEMP; break;
                            }
                            refresh = 1;
                            break;
                        case PAGE_SPORT_MENU:
                            switch(g_menu_cursor) {
                                case 0: g_curPage = PAGE_STEP_TODAY; break;
                                case 1: g_curPage = PAGE_DISTANCE; break;
                                case 2: g_curPage = PAGE_CALORIE; break;
                            }
                            refresh = 1;
                            break;
                        case PAGE_SETTING_MENU:
                            switch(g_menu_cursor) {
                                case 0:
                                    g_curPage = PAGE_TIME_SET;
                                    g_edit_mode = 1;
                                    g_edit_index = 0;
                                    break;
                                case 1: g_curPage = PAGE_BT_PAIR; break;
                                case 2:
                                    g_curPage = PAGE_BRIGHTNESS;
                                    g_edit_mode = 1;
                                    break;
																case 3:
																		g_curPage = PAGE_ALARM_SET;
																		g_edit_mode = 1;
																		g_edit_index = 0;
																		break;
                                case 4: g_curPage = PAGE_FACTORY_RESET; break;
                            }
                            refresh = 1;
                            break;
                        case PAGE_SYSINFO_MENU:
                            switch(g_menu_cursor) {
                                case 0: g_curPage = PAGE_BATTERY; break;
                                case 1: g_curPage = PAGE_FW_VERSION; break;
                                case 2: g_curPage = PAGE_BT_MAC; break;
                            }
                            refresh = 1;
                            break;
                        default: break;
                    }
                }
            }
        }

        // ========== 3. 处理长按 ==========
        else if(btn_event == BTN_LONG)
        {
            if(g_edit_mode) {
                g_edit_mode = 0;
                g_edit_index = 0;
            }
            MenuPage parent = menu_parent[g_curPage];
            if(parent != g_curPage) {
                g_curPage = parent;
                g_menu_cursor = 0;
                refresh = 1;
            }
        }

        if(refresh) {
            osSemaphoreRelease(semDisplayUpdateHandle);
        }
        vTaskDelayUntil(&xLastWakeTime, pdMS_TO_TICKS(20));
    }
}

/* 蓝牙任务：100ms周期，定时上报设备数据 */
void vTask_Bluetooth_HEX(void const * argument)
{
    TickType_t xLastWakeTime = xTaskGetTickCount();
    uint32_t count = 0;
    for (;;) {
        Bluetooth_ProcessReceived();
        // 1秒一次上报传感器
        if (++count % 10 == 0) {
            Bluetooth_SendSensorData(&g_sensorBuf);
            Bluetooth_SendStepData(g_stepTotal);
        }
        vTaskDelayUntil(&xLastWakeTime, pdMS_TO_TICKS(100));
    }
}

void vTask_Bluetooth(void const * argument)
{
    TickType_t xLastWakeTime = xTaskGetTickCount();
    uint32_t count = 0;
    for (;;) {
        Bluetooth_ProcessReceived();
        // 1秒一次上报，使用明文输出
        if (++count % 10 == 0) {
            Bluetooth_SendSensorText(&g_sensorBuf);
            // 步数也拼成明文发送
            char step_buf[32];
            sprintf(step_buf, "Step: %u\r\n", g_stepTotal);
            osMutexWait(mutexUARTHandle, osWaitForever);
            HAL_UART_Transmit(&huart1, (uint8_t*)step_buf, strlen(step_buf), 100);
            osMutexRelease(mutexUARTHandle);
        }
        vTaskDelayUntil(&xLastWakeTime, pdMS_TO_TICKS(100));
    }
}

void vTaskHardwareInit(void const * arg)
{
    HAL_TIM_Encoder_Start(&htim3, TIM_CHANNEL_ALL);
    // 复位计数器初始值
    __HAL_TIM_SET_COUNTER(&htim3, 32768);

		// 立刻非阻塞取走1个令牌，最终信号量初始状态 = 0
		osSemaphoreWait(semDisplayUpdateHandle, 0);
    g_timeBuf.hour = 12;
    g_timeBuf.min = 0;
    g_timeBuf.sec = 0;
		g_timeBuf.year=2026;
		g_timeBuf.month=7;
		g_timeBuf.day=9;
    g_stepTotal = 0;

    QueueTimeBuf_t initTime = {.data = g_timeBuf};
		// 仅操作已创建的时间队列

		xQueueOverwriteSafe((QueueHandle_t)queueTimeUpdateHandle, &initTime);

    QueueSensorBuf_t initSen = {.data = g_sensorBuf};
    xQueueOverwriteSafe(queueSensorDataHandle, &initSen);
    xQueueOverwriteSafe(queueStepDataHandle, &g_stepTotal);

    osSemaphoreRelease(semDisplayUpdateHandle);
    vTaskDelay(pdMS_TO_TICKS(100));
    vTaskDelete(NULL);
}

/**
 * @brief  用PA6/PA7连接模拟编码器输出
 * @retval int16_t 增量值：正数=顺时针，负数=逆时针，0=无操作
 * @note   按下一次返回 ±4，和EC11四倍频一格的数值一致，原有阈值完全兼容
 */
int16_t EncoderSimByButtons(void)
{
    // 按键消抖与连发状态
    static uint8_t  key_up_last = 1;     // PA7：逆时针/上移
    static uint32_t key_up_tick = 0;
    static uint8_t  key_up_repeat = 0;
    static uint32_t key_up_repeat_tick = 0;

    static uint8_t  key_down_last = 1;   // PA6：顺时针/下移
    static uint32_t key_down_tick = 0;
    static uint8_t  key_down_repeat = 0;
    static uint32_t key_down_repeat_tick = 0;

    int16_t ret = 0;
    uint32_t now = HAL_GetTick();

    // ========== 读取电平 ==========
    uint8_t key_up_now  = HAL_GPIO_ReadPin(GPIOA, GPIO_PIN_7);
    uint8_t key_down_now = HAL_GPIO_ReadPin(GPIOA, GPIO_PIN_6);

    // ========== 逆时针键（PA7）处理 ==========
    if(key_up_now != key_up_last) {
        key_up_last = key_up_now;
        key_up_tick = now;
        key_up_repeat = 0;
    }
    // 消抖通过：稳定按下
    else if(key_up_now == GPIO_PIN_RESET && (now - key_up_tick) > 30) {
        if(key_up_repeat == 0) {
            // 首次按下触发
            ret -= 4;
            key_up_repeat = 1;
            key_up_repeat_tick = now + 500; // 500ms后开启连发
        } else if(now >= key_up_repeat_tick) {
            // 长按连发：每100ms触发一次
            ret -= 4;
            key_up_repeat_tick = now + 100;
        }
    }

    // ========== 顺时针键（PA6）处理 ==========
    if(key_down_now != key_down_last) {
        key_down_last = key_down_now;
        key_down_tick = now;
        key_down_repeat = 0;
    }
    else if(key_down_now == GPIO_PIN_RESET && (now - key_down_tick) > 30) {
        if(key_down_repeat == 0) {
            ret += 4;
            key_down_repeat = 1;
            key_down_repeat_tick = now + 500;
        } else if(now >= key_down_repeat_tick) {
            ret += 4;
            key_down_repeat_tick = now + 100;
        }
    }

    return ret;
}

/* USER CODE BEGIN Application */
// 全局变量对外导出，供蓝牙、业务文件调用
TimeData* GetGlobalTimeBuf(void){return &g_timeBuf;}
uint32_t GetGlobalStep(void){return g_stepTotal;}
void SetAlarm(uint8_t h,uint8_t m){g_alarmHour = h;g_alarmMin = m;}
/* USER CODE END Application */
